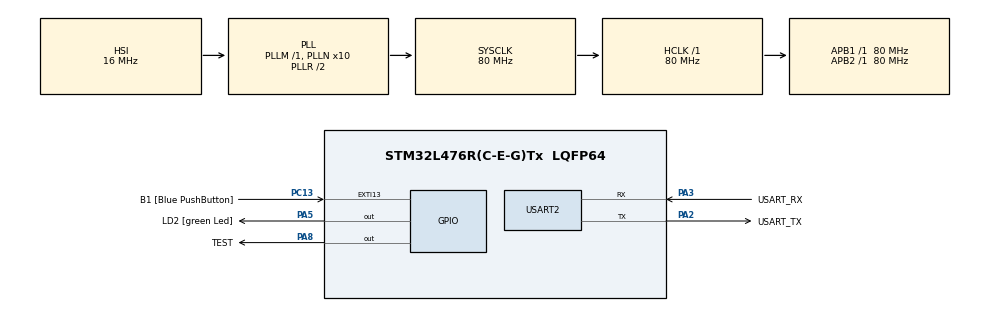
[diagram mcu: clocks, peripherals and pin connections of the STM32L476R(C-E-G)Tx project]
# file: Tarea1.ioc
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Dma.MEMTOMEM.0.Direction=DMA_MEMORY_TO_MEMORY
Dma.MEMTOMEM.0.Instance=DMA1_Channel1
Dma.MEMTOMEM.0.MemDataAlignment=DMA_MDATAALIGN_BYTE
Dma.MEMTOMEM.0.MemInc=DMA_MINC_ENABLE
Dma.MEMTOMEM.0.Mode=DMA_NORMAL
Dma.MEMTOMEM.0.PeriphDataAlignment=DMA_PDATAALIGN_BYTE
Dma.MEMTOMEM.0.PeriphInc=DMA_PINC_ENABLE
Dma.MEMTOMEM.0.Priority=DMA_PRIORITY_LOW
Dma.Request0=MEMTOMEM
Mcu.Family=STM32L4
Mcu.Name=STM32L476R(C-E-G)Tx
Mcu.Package=LQFP64
NVIC.DMA1_Channel1_IRQn=true\:0\:0\:false\:false\:true\:true\:true\:true
NVIC.PriorityGroup=NVIC_PRIORITYGROUP_4
PA13\ (JTMS-SWDIO).GPIO_Label=TMS
PA13\ (JTMS-SWDIO).Mode=Serial_Wire
PA13\ (JTMS-SWDIO).Signal=SYS_JTMS-SWDIO
PA14\ (JTCK-SWCLK).GPIO_Label=TCK
PA14\ (JTCK-SWCLK).Mode=Serial_Wire
PA14\ (JTCK-SWCLK).Signal=SYS_JTCK-SWCLK
PA2.GPIO_Label=USART_TX
PA2.GPIO_Mode=GPIO_MODE_AF_PP
PA2.GPIO_PuPd=GPIO_NOPULL
PA2.GPIO_Speed=GPIO_SPEED_FREQ_VERY_HIGH
PA2.Mode=Asynchronous
PA2.Signal=USART2_TX
PA3.GPIO_Label=USART_RX
PA3.GPIO_Mode=GPIO_MODE_AF_PP
PA3.GPIO_PuPd=GPIO_NOPULL
PA3.GPIO_Speed=GPIO_SPEED_FREQ_VERY_HIGH
PA3.Mode=Asynchronous
PA3.Signal=USART2_RX
PA5.GPIO_Label=LD2 [green Led]
PA5.GPIO_ModeDefaultOutputPP=GPIO_MODE_OUTPUT_PP
PA5.GPIO_PuPd=GPIO_NOPULL
PA5.GPIO_Speed=GPIO_SPEED_FREQ_LOW
PA5.Signal=GPIO_Output
PA8.GPIO_Label=TEST
PA8.Signal=GPIO_Output
PB3\ (JTDO-TRACESWO).GPIO_Label=SWO
PB3\ (JTDO-TRACESWO).Signal=SYS_JTDO-SWO
PC13.GPIO_Label=B1 [Blue PushButton]
PC13.GPIO_ModeDefaultEXTI=GPIO_MODE_IT_FALLING
PC13.GPIO_PuPd=GPIO_NOPULL
PC13.Signal=GPXTI13
PC14-OSC32_IN\ (PC14).Mode=LSE-External-Oscillator
PC14-OSC32_IN\ (PC14).Signal=RCC_OSC32_IN
PC15-OSC32_OUT\ (PC15).Mode=LSE-External-Oscillator
PC15-OSC32_OUT\ (PC15).Signal=RCC_OSC32_OUT
PH0-OSC_IN\ (PH0).Signal=RCC_OSC_IN
PH1-OSC_OUT\ (PH1).Signal=RCC_OSC_OUT
ProjectManager.HeapSize=0x200
ProjectManager.StackSize=0x400
ProjectManager.TargetToolchain=STM32CubeIDE
RCC.ADCFreq_Value=64000000
RCC.AHBFreq_Value=80000000
RCC.APB1Freq_Value=80000000
RCC.APB1TimFreq_Value=80000000
RCC.APB2Freq_Value=80000000
RCC.APB2TimFreq_Value=80000000
RCC.CortexFreq_Value=80000000
RCC.HCLKFreq_Value=80000000
RCC.HSE_VALUE=8000000
RCC.HSI_VALUE=16000000
RCC.MSI_VALUE=4000000
RCC.PLLN=10
RCC.PLLSourceVirtual=RCC_PLLSOURCE_HSI
RCC.PREFETCH_ENABLE=1
RCC.SYSCLKFreq_VALUE=80000000
RCC.SYSCLKSource=RCC_SYSCLKSOURCE_PLLCLK
RCC.USBFreq_Value=64000000
RCC.VCOOutputFreq_Value=160000000
USART2.VirtualMode-Asynchronous=VM_ASYNC
board=NUCLEO-L476RG

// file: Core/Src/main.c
/* USER CODE BEGIN Header */
/**
  ******************************************************************************
  * @file           : main.c
  * @brief          : Main program body
  ******************************************************************************
  * @attention
  *
  * Copyright (c) 2026 STMicroelectronics.
  * All rights reserved.
  *
  * This software is licensed under terms that can be found in the LICENSE file
  * in the root directory of this software component.
  * If no LICENSE file comes with this software, it is provided AS-IS.
  *
  ******************************************************************************
  */
/* USER CODE END Header */
#include "main.h"

/* USER CODE BEGIN Includes */
#include <string.h>
/* USER CODE END Includes */

/* USER CODE BEGIN PD */
#define N 2048
#define MAX_SIZE 2048
/* USER CODE END PD */

UART_HandleTypeDef huart2;

DMA_HandleTypeDef hdma_memtomem_dma1_channel1;
/* USER CODE BEGIN PV */
uint8_t src_sram[MAX_SIZE];
uint8_t dst[MAX_SIZE];

const uint8_t src_flash[MAX_SIZE] =
{
		0,1,2,3,4,5,6,7,8,9,10,11,12,13,14,15,16,17,18,19,20,21,22,23,24,25,26,27,28,29,30,31,32,33,34,35,36,37,38,39,40,41,42,43,44,45,46,47,48,49,50,51,52,53,54,55,56,57,58,59,60,61,62,63,64,65,66,67,68,69,70,71,72,73,74,75,76,77,78,79,80,81,82,83,84,85,86,87,88,89,90,91,92,93,94,95,96,97,98,99,100,101,102,103,104,105,106,107,108,109,110,111,112,113,114,115,116,117,118,119,120,121,122,123,124,125,126,127,128,129,130,131,132,133,134,135,136,137,138,139,140,141,142,143,144,145,146,147,148,149,150,151,152,153,154,155,156,157,158,159,160,161,162,163,164,165,166,167,168,169,170,171,172,173,174,175,176,177,178,179,180,181,182,183,184,185,186,187,188,189,190,191,192,193,194,195,196,197,198,199,200,201,202,203,204,205,206,207,208,209,210,211,212,213,214,215,216,217,218,219,220,221,222,223,224,225,226,227,228,229,230,231,232,233,234,235,236,237,238,239,240,241,242,243,244,245,246,247,248,249,250,251,252,253,254,255,
		0,1,2,3,4,5,6,7,8,9,10,11,12,13,14,15,16,17,18,19,20,21,22,23,24,25,26,27,28,29,30,31,32,33,34,35,36,37,38,39,40,41,42,43,44,45,46,47,48,49,50,51,52,53,54,55,56,57,58,59,60,61,62,63,64,65,66,67,68,69,70,71,72,73,74,75,76,77,78,79,80,81,82,83,84,85,86,87,88,89,90,91,92,93,94,95,96,97,98,99,100,101,102,103,104,105,106,107,108,109,110,111,112,113,114,115,116,117,118,119,120,121,122,123,124,125,126,127,128,129,130,131,132,133,134,135,136,137,138,139,140,141,142,143,144,145,146,147,148,149,150,151,152,153,154,155,156,157,158,159,160,161,162,163,164,165,166,167,168,169,170,171,172,173,174,175,176,177,178,179,180,181,182,183,184,185,186,187,188,189,190,191,192,193,194,195,196,197,198,199,200,201,202,203,204,205,206,207,208,209,210,211,212,213,214,215,216,217,218,219,220,221,222,223,224,225,226,227,228,229,230,231,232,233,234,235,236,237,238,239,240,241,242,243,244,245,246,247,248,249,250,251,252,253,254,255,
		0,1,2,3,4,5,6,7,8,9,10,11,12,13,14,15,16,17,18,19,20,21,22,23,24,25,26,27,28,29,30,31,32,33,34,35,36,37,38,39,40,41,42,43,44,45,46,47,48,49,50,51,52,53,54,55,56,57,58,59,60,61,62,63,64,65,66,67,68,69,70,71,72,73,74,75,76,77,78,79,80,81,82,83,84,85,86,87,88,89,90,91,92,93,94,95,96,97,98,99,100,101,102,103,104,105,106,107,108,109,110,111,112,113,114,115,116,117,118,119,120,121,122,123,124,125,126,127,128,129,130,131,132,133,134,135,136,137,138,139,140,141,142,143,144,145,146,147,148,149,150,151,152,153,154,155,156,157,158,159,160,161,162,163,164,165,166,167,168,169,170,171,172,173,174,175,176,177,178,179,180,181,182,183,184,185,186,187,188,189,190,191,192,193,194,195,196,197,198,199,200,201,202,203,204,205,206,207,208,209,210,211,212,213,214,215,216,217,218,219,220,221,222,223,224,225,226,227,228,229,230,231,232,233,234,235,236,237,238,239,240,241,242,243,244,245,246,247,248,249,250,251,252,253,254,255,
		0,1,2,3,4,5,6,7,8,9,10,11,12,13,14,15,16,17,18,19,20,21,22,23,24,25,26,27,28,29,30,31,32,33,34,35,36,37,38,39,40,41,42,43,44,45,46,47,48,49,50,51,52,53,54,55,56,57,58,59,60,61,62,63,64,65,66,67,68,69,70,71,72,73,74,75,76,77,78,79,80,81,82,83,84,85,86,87,88,89,90,91,92,93,94,95,96,97,98,99,100,101,102,103,104,105,106,107,108,109,110,111,112,113,114,115,116,117,118,119,120,121,122,123,124,125,126,127,128,129,130,131,132,133,134,135,136,137,138,139,140,141,142,143,144,145,146,147,148,149,150,151,152,153,154,155,156,157,158,159,160,161,162,163,164,165,166,167,168,169,170,171,172,173,174,175,176,177,178,179,180,181,182,183,184,185,186,187,188,189,190,191,192,193,194,195,196,197,198,199,200,201,202,203,204,205,206,207,208,209,210,211,212,213,214,215,216,217,218,219,220,221,222,223,224,225,226,227,228,229,230,231,232,233,234,235,236,237,238,239,240,241,242,243,244,245,246,247,248,249,250,251,252,253,254,255
};

void XferCpltCallback(DMA_HandleTypeDef *hdma);	// Funcion a ejecutar en la interrupcion

volatile uint8_t copia_lista = 0;				// Flag que indica que se realizo la copia

/* USER CODE END PV */

void SystemClock_Config(void);
static void MX_GPIO_Init(void);
static void MX_DMA_Init(void);
static void MX_USART2_UART_Init(void);

int main(void)
{

  /* MCU Configuration--------------------------------------------------------*/

  /* Reset of all peripherals, Initializes the Flash interface and the Systick. */
  HAL_Init();

  /* Configure the system clock */
  SystemClock_Config();

  /* Initialize all configured peripherals */
  MX_GPIO_Init();
  MX_DMA_Init();
  MX_USART2_UART_Init();
  /* USER CODE BEGIN 2 */
  hdma_memtomem_dma1_channel1.XferCpltCallback=&XferCpltCallback;

  for(int i = 0; i < MAX_SIZE ; i++)
  {
      src_sram[i] = i % 256;
  }

  // ----- DMA -----
  //HAL_GPIO_WritePin(TEST_GPIO_Port, TEST_Pin, GPIO_PIN_SET);	// Inicio de copia - Osciloscopio
  // ----------- CAMBIAR src_flash - src_sram	-----------
  //HAL_DMA_Start_IT(&hdma_memtomem_dma1_channel1, (uint32_t) src_sram,(uint32_t) dst, N);
  // ----- DMA -----

  /* USER CODE END 2 */

  /* Infinite loop */
  while (1)
  {

    /* USER CODE BEGIN 3 */

	  // ----------- CAMBIAR src_flash - src_sram	-----------
	  // ----------- CPU -----------

	  HAL_GPIO_WritePin(TEST_GPIO_Port, TEST_Pin, GPIO_PIN_SET);

	  memcpy(dst, src_sram, N); // Copia N valores de src -> dst

	  HAL_GPIO_WritePin(TEST_GPIO_Port, TEST_Pin, GPIO_PIN_RESET);

	  // Verificación
	  int ok = 1;
	  for(int i = 0; i < N; i++)
	  {		// ----------- CAMBIAR src_flash - src_sram	-----------
	      if(dst[i] != src_sram[i])
	      {
	          ok = 0;
	          break;
	      }
	  }

	  // Acción según resultado
	  if(ok)
	  {
	      // Pass -> Blink
		  HAL_GPIO_TogglePin(LD2_GPIO_Port, LD2_Pin);
	      HAL_Delay(1000);
	      HAL_GPIO_TogglePin(LD2_GPIO_Port, LD2_Pin);
	  }
	  else
	  {
	      // Error -> Led Fijo
	      HAL_GPIO_WritePin(LD2_GPIO_Port, LD2_Pin, GPIO_PIN_SET);
	  }

	  HAL_Delay(1000);
	  // ----------- CPU -----------

	  /*
	  // ----------- DMA	-----------
	  if (copia_lista)
	  {
		  // Verificación
		  int ok = 1;
		  for(int i = 0; i < N; i++)
		  {
			  // ----------- CAMBIAR src_flash - src_sram	-----------
			  if(dst[i] != src_sram[i])
			  {
				  ok = 0; break;
			  }
		  }

		  // Blink para indicar que esta bien
		  if(ok)
		  {
			  HAL_GPIO_WritePin(LD2_GPIO_Port, LD2_Pin, GPIO_PIN_SET);
			  HAL_Delay(1000);
			  HAL_GPIO_WritePin(LD2_GPIO_Port, LD2_Pin, GPIO_PIN_RESET);
			  HAL_Delay(1000);
		  } else {
			  HAL_GPIO_WritePin(LD2_GPIO_Port, LD2_Pin, GPIO_PIN_SET); // LED Fijo si hay error
			  while(1);
		  }

		  // Preparar siguiente medición
		  copia_lista = 0; // Reset flag
		  // Lanzar interrupcion
		  HAL_GPIO_WritePin(TEST_GPIO_Port, TEST_Pin, GPIO_PIN_SET);

		  // ----------- CAMBIAR src_flash - src_sram	-----------
		  HAL_DMA_Start_IT(&hdma_memtomem_dma1_channel1, (uint32_t)src_sram, (uint32_t)dst, N);
	  }
	  // ----- DMA -----
	  */

  /* USER CODE END 3 */
  }
}

void SystemClock_Config(void)
{
  RCC_OscInitTypeDef RCC_OscInitStruct = {0};
  RCC_ClkInitTypeDef RCC_ClkInitStruct = {0};

  /** Configure the main internal regulator output voltage
  */
  if (HAL_PWREx_ControlVoltageScaling(PWR_REGULATOR_VOLTAGE_SCALE1) != HAL_OK)
  {
    Error_Handler();
  }

  /** Initializes the RCC Oscillators according to the specified parameters
  * in the RCC_OscInitTypeDef structure.
  */
  RCC_OscInitStruct.OscillatorType = RCC_OSCILLATORTYPE_HSI;
  RCC_OscInitStruct.HSIState = RCC_HSI_ON;
  RCC_OscInitStruct.HSICalibrationValue = RCC_HSICALIBRATION_DEFAULT;
  RCC_OscInitStruct.PLL.PLLState = RCC_PLL_ON;
  RCC_OscInitStruct.PLL.PLLSource = RCC_PLLSOURCE_HSI;
  RCC_OscInitStruct.PLL.PLLM = 1;
  RCC_OscInitStruct.PLL.PLLN = 10;
  RCC_OscInitStruct.PLL.PLLP = RCC_PLLP_DIV7;
  RCC_OscInitStruct.PLL.PLLQ = RCC_PLLQ_DIV2;
  RCC_OscInitStruct.PLL.PLLR = RCC_PLLR_DIV2;
  if (HAL_RCC_OscConfig(&RCC_OscInitStruct) != HAL_OK)
  {
    Error_Handler();
  }

  /** Initializes the CPU, AHB and APB buses clocks
  */
  RCC_ClkInitStruct.ClockType = RCC_CLOCKTYPE_HCLK|RCC_CLOCKTYPE_SYSCLK
                              |RCC_CLOCKTYPE_PCLK1|RCC_CLOCKTYPE_PCLK2;
  RCC_ClkInitStruct.SYSCLKSource = RCC_SYSCLKSOURCE_PLLCLK;
  RCC_ClkInitStruct.AHBCLKDivider = RCC_SYSCLK_DIV1;
  RCC_ClkInitStruct.APB1CLKDivider = RCC_HCLK_DIV1;
  RCC_ClkInitStruct.APB2CLKDivider = RCC_HCLK_DIV1;

  if (HAL_RCC_ClockConfig(&RCC_ClkInitStruct, FLASH_LATENCY_4) != HAL_OK)
  {
    Error_Handler();
  }
}

static void MX_USART2_UART_Init(void)
{

  huart2.Instance = USART2;
  huart2.Init.BaudRate = 115200;
  huart2.Init.WordLength = UART_WORDLENGTH_8B;
  huart2.Init.StopBits = UART_STOPBITS_1;
  huart2.Init.Parity = UART_PARITY_NONE;
  huart2.Init.Mode = UART_MODE_TX_RX;
  huart2.Init.HwFlowCtl = UART_HWCONTROL_NONE;
  huart2.Init.OverSampling = UART_OVERSAMPLING_16;
  huart2.Init.OneBitSampling = UART_ONE_BIT_SAMPLE_DISABLE;
  huart2.AdvancedInit.AdvFeatureInit = UART_ADVFEATURE_NO_INIT;
  if (HAL_UART_Init(&huart2) != HAL_OK)
  {
    Error_Handler();
  }

}

static void MX_DMA_Init(void)
{

  /* DMA controller clock enable */
  __HAL_RCC_DMA1_CLK_ENABLE();

  /* Configure DMA request hdma_memtomem_dma1_channel1 on DMA1_Channel1 */
  hdma_memtomem_dma1_channel1.Instance = DMA1_Channel1;
  hdma_memtomem_dma1_channel1.Init.Request = DMA_REQUEST_0;
  hdma_memtomem_dma1_channel1.Init.Direction = DMA_MEMORY_TO_MEMORY;
  hdma_memtomem_dma1_channel1.Init.PeriphInc = DMA_PINC_ENABLE;
  hdma_memtomem_dma1_channel1.Init.MemInc = DMA_MINC_ENABLE;
  hdma_memtomem_dma1_channel1.Init.PeriphDataAlignment = DMA_PDATAALIGN_BYTE;
  hdma_memtomem_dma1_channel1.Init.MemDataAlignment = DMA_MDATAALIGN_BYTE;
  hdma_memtomem_dma1_channel1.Init.Mode = DMA_NORMAL;
  hdma_memtomem_dma1_channel1.Init.Priority = DMA_PRIORITY_LOW;
  if (HAL_DMA_Init(&hdma_memtomem_dma1_channel1) != HAL_OK)
  {
    Error_Handler( );
  }

  /* DMA interrupt init */
  /* DMA1_Channel1_IRQn interrupt configuration */
  HAL_NVIC_SetPriority(DMA1_Channel1_IRQn, 0, 0);
  HAL_NVIC_EnableIRQ(DMA1_Channel1_IRQn);

}

static void MX_GPIO_Init(void)
{
  GPIO_InitTypeDef GPIO_InitStruct = {0};

  /* GPIO Ports Clock Enable */
  __HAL_RCC_GPIOC_CLK_ENABLE();
  __HAL_RCC_GPIOH_CLK_ENABLE();
  __HAL_RCC_GPIOA_CLK_ENABLE();
  __HAL_RCC_GPIOB_CLK_ENABLE();

  /*Configure GPIO pin Output Level */
  HAL_GPIO_WritePin(GPIOA, LD2_Pin|TEST_Pin, GPIO_PIN_RESET);

  /*Configure GPIO pin : B1_Pin */
  GPIO_InitStruct.Pin = B1_Pin;
  GPIO_InitStruct.Mode = GPIO_MODE_IT_FALLING;
  GPIO_InitStruct.Pull = GPIO_NOPULL;
  HAL_GPIO_Init(B1_GPIO_Port, &GPIO_InitStruct);

  /*Configure GPIO pins : LD2_Pin TEST_Pin */
  GPIO_InitStruct.Pin = LD2_Pin|TEST_Pin;
  GPIO_InitStruct.Mode = GPIO_MODE_OUTPUT_PP;
  GPIO_InitStruct.Pull = GPIO_NOPULL;
  GPIO_InitStruct.Speed = GPIO_SPEED_FREQ_LOW;
  HAL_GPIO_Init(GPIOA, &GPIO_InitStruct);

}

/* USER CODE BEGIN 4 */

void XferCpltCallback(DMA_HandleTypeDef *hdma)
{
	if(hdma == &hdma_memtomem_dma1_channel1)
	    {
	        HAL_GPIO_WritePin(TEST_GPIO_Port, TEST_Pin, GPIO_PIN_RESET);	// Fin de copia - Osciloscopio
	        copia_lista = 1;												// Flag en alto
	    }
}

/* USER CODE END 4 */

void Error_Handler(void)
{
  __disable_irq();
  while (1)
  {
  }
}
